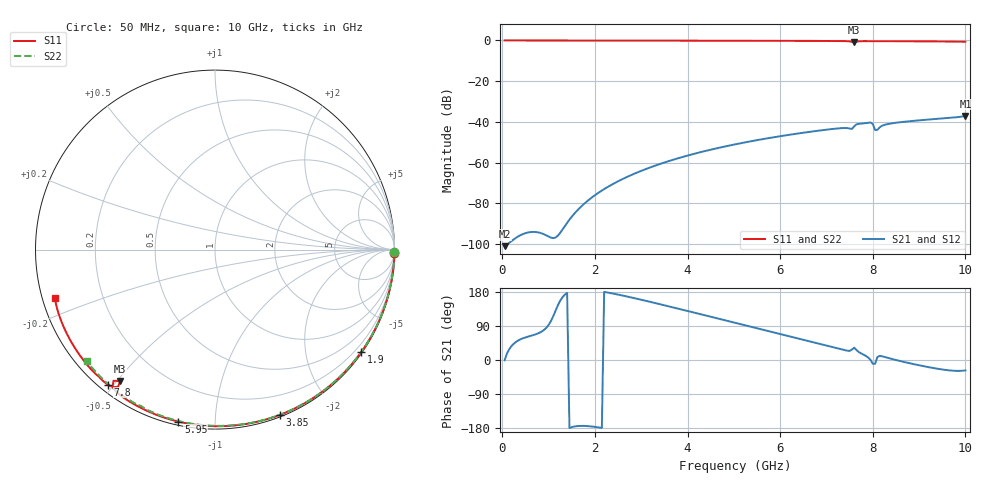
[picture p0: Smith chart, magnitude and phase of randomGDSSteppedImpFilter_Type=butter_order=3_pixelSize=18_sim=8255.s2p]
! freq	dB(S11)	phase(S11)	dB(S12)	phase(S12)
!  dB(S21)	phase(S21)	dB(S22)	phase(S22)
!S-par simulation data
#  GHz  S  DB  R 50
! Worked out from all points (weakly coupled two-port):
!   200 points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, 50 MHz to 10 GHz, reference 50 ohm
!   highest |S21| = -37.14 dB at 10 GHz (marker M1); lowest = -101.1 dB at 50 MHz (marker M2)
!   lowest |S11| = -0.9 dB at 7.6 GHz (marker M3), VSWR 19.63, Z = 3.21 - j25.5 ohm
!   |S11| at or under -10 dB: nowhere
!   |S22| runs from -0.5 to 0.0 dB; largest |S21 - S12| = 0
!   S11 on the Smith chart (normalised r, x): 50 MHz: open; 1.9 GHz: 0.03, -3.18; 3.85 GHz: 0.02, -1.46; 5.95 GHz: 0.02, -0.81; 7.8 GHz: 0.02, -0.48; 10 GHz: 0.04, -0.15
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0.05  -0.00 -0.9  -101.12 -0.8  -101.12 -0.8  -0.00 -0.8
0.85  -0.02 -15.8  -94.82 75.0  -94.82 75.0  -0.02 -13.6
1.75  -0.04 -32.3  -80.64 -173.9  -80.64 -173.9  -0.04 -27.8
1.9  -0.04 -35.0  -77.77 -175.0  -77.77 -175.0  -0.04 -30.1
2.55  -0.06 -46.5  -68.65 171.4  -68.65 171.4  -0.05 -40.1
3.4  -0.08 -61.1  -60.75 147.4  -60.75 147.4  -0.07 -52.8
3.85  -0.09 -68.7  -57.55 133.9  -57.55 133.9  -0.08 -59.4
5.05  -0.14 -88.1  -50.96 97.4  -50.96 97.4  -0.12 -76.3
5.95  -0.18 -102.0  -47.25 70.1  -47.25 70.1  -0.15 -88.5
6.7  -0.22 -113.4  -44.72 47.4  -44.72 47.4  -0.19 -98.3
7.5  -0.44 -126.9  -43.27 24.0  -43.27 24.0  -0.24 -108.5
7.55  -0.69 -127.7  -43.49 27.5  -43.49 27.5  -0.24 -109.1
7.6  -0.89 -125.8  -42.21 32.5  -42.21 32.5  -0.25 -109.7
7.65  -0.58 -125.2  -41.18 26.0  -41.18 26.0  -0.25 -110.4
7.8  -0.35 -128.4  -40.76 14.1  -40.76 14.1  -0.26 -112.3
7.95  -0.34 -131.0  -40.34 0.4  -40.34 0.4  -0.29 -114.2
8  -0.36 -131.8  -41.02 -9.9  -41.02 -9.9  -0.31 -114.8
8.05  -0.37 -132.5  -44.02 -10.0  -44.02 -10.0  -0.32 -115.2
8.1  -0.36 -133.2  -43.92 7.9  -43.92 7.9  -0.31 -115.8
8.2  -0.35 -134.8  -41.96 9.8  -41.96 9.8  -0.30 -117.1
8.35  -0.36 -137.1  -40.98 4.7  -40.98 4.7  -0.31 -118.9
10  -0.62 -163.3  -37.14 -27.5  -37.14 -27.5  -0.48 -139.0
